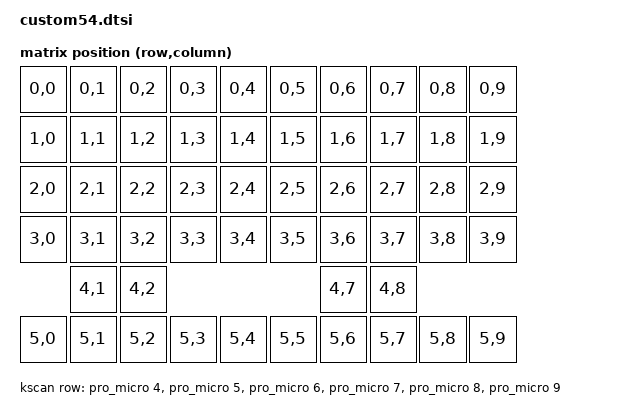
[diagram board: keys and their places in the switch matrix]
#include <dt-bindings/zmk/matrix_transform.h>

#include "custom54-layouts.dtsi"

/ {
    chosen {
        zmk,kscan = &kscan;
        zmk,matrix-transform = &default_transform;
        zmk,physical-layout = &default_layout;
        zephyr,display = &oled;
    };

    kscan: kscan {
        compatible = "zmk,kscan-gpio-matrix";
        diode-direction = "col2row";
        wakeup-source;

        // With col2row, columns are driven active-high outputs,
        // and rows are input pins read with pull-downs.
        row-gpios
            = <&pro_micro 4 (GPIO_ACTIVE_HIGH | GPIO_PULL_DOWN)>
            , <&pro_micro 5 (GPIO_ACTIVE_HIGH | GPIO_PULL_DOWN)>
            , <&pro_micro 6 (GPIO_ACTIVE_HIGH | GPIO_PULL_DOWN)>
            , <&pro_micro 7 (GPIO_ACTIVE_HIGH | GPIO_PULL_DOWN)>
            , <&pro_micro 8 (GPIO_ACTIVE_HIGH | GPIO_PULL_DOWN)>
            , <&pro_micro 9 (GPIO_ACTIVE_HIGH | GPIO_PULL_DOWN)>
            ;
    };

    default_transform: default_transform {
        compatible = "zmk,matrix-transform";
        columns = <10>;
        rows = <6>;

        map = <
/* Row 0: Number row */
RC(0, 0) RC(0, 1) RC(0, 2) RC(0, 3) RC(0, 4) RC(0, 5) RC(0, 6) RC(0, 7) RC(0, 8) RC(0, 9)
/* Row 1: Top row */
RC(1, 0) RC(1, 1) RC(1, 2) RC(1, 3) RC(1, 4) RC(1, 5) RC(1, 6) RC(1, 7) RC(1, 8) RC(1, 9)
/* Row 2: Home row */
RC(2, 0) RC(2, 1) RC(2, 2) RC(2, 3) RC(2, 4) RC(2, 5) RC(2, 6) RC(2, 7) RC(2, 8) RC(2, 9)
/* Row 3: Bottom row */
RC(3, 0) RC(3, 1) RC(3, 2) RC(3, 3) RC(3, 4) RC(3, 5) RC(3, 6) RC(3, 7) RC(3, 8) RC(3, 9)
/* Row 4: Extra bottom keys */
         RC(4, 1) RC(4, 2)                            RC(4, 7) RC(4, 8)
/* Row 5: Thumb clusters */
RC(5, 0) RC(5, 1) RC(5, 2) RC(5, 3) RC(5, 4) RC(5, 5) RC(5, 6) RC(5, 7) RC(5, 8) RC(5, 9)
        >;
    };
};

&pro_micro_i2c {
    status = "okay";

    oled: ssd1306@3c {
        compatible = "solomon,ssd1306fb";
        reg = <0x3c>;
        width = <128>;
        height = <64>;
        segment-offset = <0>;
        page-offset = <0>;
        display-offset = <0>;
        multiplex-ratio = <63>;
        segment-remap;
        com-invdir;
        inversion-on;
        prechargep = <0x22>;
    };
};
